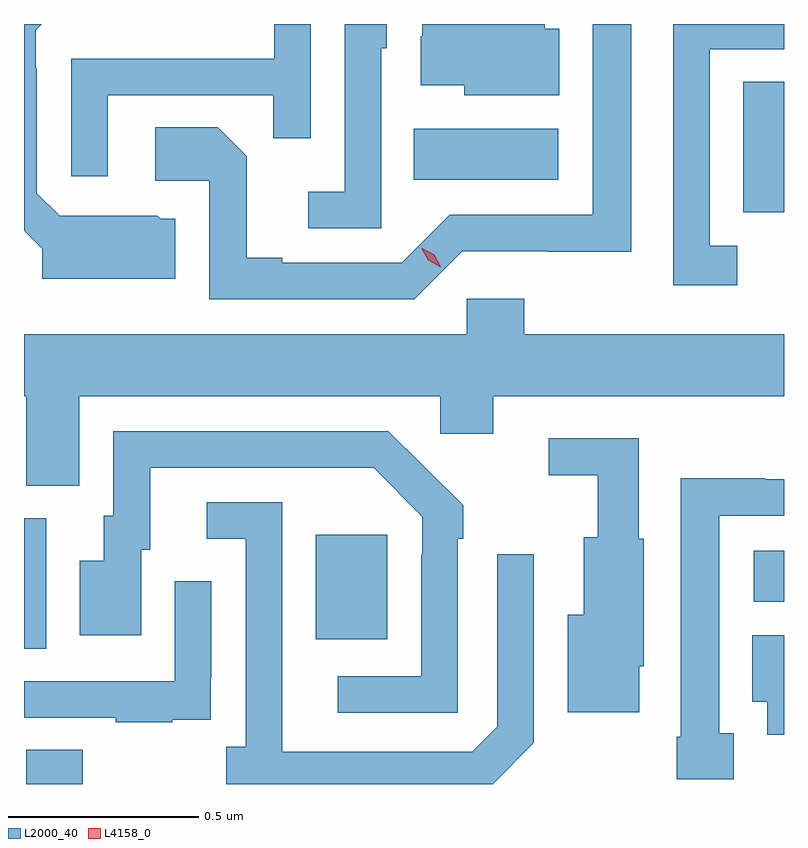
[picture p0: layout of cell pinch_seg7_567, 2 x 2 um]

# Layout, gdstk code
import gdstk
lib = gdstk.Library(unit=1e-6, precision=1e-09)
def R(c, l, rs):  # rectangles x0, y0, x1, y1
    for r in rs: c.add(gdstk.rectangle(r[:2], r[2:], *l))
def P(c, l, *ps):  # polygons
    for p in ps: c.add(gdstk.Polygon(p, *l))
L2000_40 = (2000, 40)
L4158_0 = (4158, 0)

pinch_seg7_567 = lib.new_cell('pinch_seg7_567')
R(pinch_seg7_567, L2000_40, [(170.093,1076.852,170.241,1076.942), (170.087,1077.208,170.146,1077.552), (170.855,1077.233,171.043,1077.508), (172.008,1077.332,172.087,1077.466), (171.98,1078.357,172.087,1078.7), (171.112,1078.442,171.493,1078.576), (170.236,1078.851,170.66,1078.852)])
P(pinch_seg7_567, L2000_40, [(171.027,1078.788),(171.042,1078.788),(171.042,1078.852),(170.931,1078.852),(170.931,1078.411),(170.835,1078.411),(170.835,1078.314),(171.027,1078.314)],
  [(170.485,1078.339),(170.447,1078.339),(170.438,1078.348),(170.304,1078.348),(170.304,1078.347),(170.181,1078.347),(170.121,1078.407),(170.121,1078.736),(170.118,1078.736),(170.118,1078.836),(170.134,1078.852),(170.087,1078.852),(170.087,1078.308),(170.135,1078.26),(170.135,1078.181),(170.485,1078.181)],
  [(171.964,1078.269),(171.891,1078.269),(171.891,1078.785),(172.087,1078.785),(172.087,1078.852),(171.795,1078.852),(171.795,1078.164),(171.964,1078.164)],
  [(171.496,1078.84),(171.457,1078.84),(171.457,1078.852),(171.135,1078.852),(171.135,1078.82),(171.131,1078.82),(171.131,1078.691),(171.246,1078.691),(171.246,1078.664),(171.496,1078.664)],
  [(170.307,1078.665),(170.743,1078.665),(170.743,1078.552),(170.841,1078.552),(170.841,1078.852),(170.745,1078.852),(170.745,1078.761),(170.211,1078.761),(170.211,1078.452),(170.307,1078.452)],
  [(171.24,1078.254),(171.462,1078.254),(171.462,1078.253),(171.685,1078.253),(171.685,1078.852),(171.584,1078.852),(171.584,1078.35),(171.207,1078.35),(171.081,1078.224),(170.767,1078.224),(170.767,1078.237),(170.673,1078.237),(170.673,1078.504),(170.597,1078.58),(170.433,1078.58),(170.433,1078.44),(170.574,1078.44),(170.574,1078.128),(171.114,1078.128)],
  [(170.233,1077.872),(171.183,1077.872),(171.183,1077.774),(171.322,1077.774),(171.322,1077.872),(172.087,1077.872),(172.087,1078.036),(171.404,1078.036),(171.404,1078.129),(171.252,1078.129),(171.252,1078.036),(170.087,1078.036),(170.087,1077.872),(170.093,1077.872),(170.093,1077.637),(170.233,1077.637)],
  [(171.228,1077.497),(171.243,1077.497),(171.243,1077.585),(171.138,1077.69),(171.137,1077.689),(171.046,1077.78),(170.322,1077.78),(170.322,1077.558),(170.297,1077.558),(170.297,1077.439),(170.234,1077.439),(170.234,1077.243),(170.395,1077.243),(170.395,1077.468),(170.419,1077.468),(170.419,1077.684),(171.007,1077.684),(171.135,1077.555),(171.135,1077.455),(171.132,1077.455),(171.132,1077.135),(170.913,1077.135),(170.913,1077.039),(171.228,1077.039)],
  [(171.706,1077.162),(171.718,1077.162),(171.718,1077.498),(171.705,1077.498),(171.705,1077.762),(171.468,1077.762),(171.468,1077.665),(171.597,1077.665),(171.597,1077.502),(171.56,1077.502),(171.56,1077.298),(171.518,1077.298),(171.518,1077.041),(171.706,1077.041)],
  [(171.955,1076.985),(171.916,1076.985),(171.916,1077.558),(172.087,1077.558),(172.087,1077.654),(172.038,1077.654),(172.038,1077.656),(171.815,1077.656),(171.815,1076.977),(171.805,1076.977),(171.805,1076.865),(171.955,1076.865)],
  [(171.429,1076.961),(171.429,1077.457),(171.333,1077.457),(171.333,1077.003),(171.267,1076.937),(170.767,1076.937),(170.767,1077.137),(170.766,1077.137),(170.766,1077.594),(170.568,1077.594),(170.568,1077.498),(170.67,1077.498),(170.67,1076.95),(170.619,1076.95),(170.619,1076.852),(171.32,1076.852)],
  [(170.477,1077.021),(170.579,1077.021),(170.579,1077.13),(170.58,1077.13),(170.58,1077.385),(170.484,1077.385),(170.484,1077.123),(170.087,1077.123),(170.087,1077.027),(170.329,1077.027),(170.329,1077.015),(170.477,1077.015)],
  [(172.087,1077.244),(172.004,1077.244),(172.004,1077.068),(172.043,1077.068),(172.043,1076.981),(172.087,1076.981)])
P(pinch_seg7_567, L4158_0, [(171.184,1078.212),(171.151,1078.23),(171.133,1078.263),(171.133,1078.263),(171.133,1078.263),(171.166,1078.245),(171.184,1078.213),(171.184,1078.212)])

lib.write_gds('pinch_seg7_567.gds')
